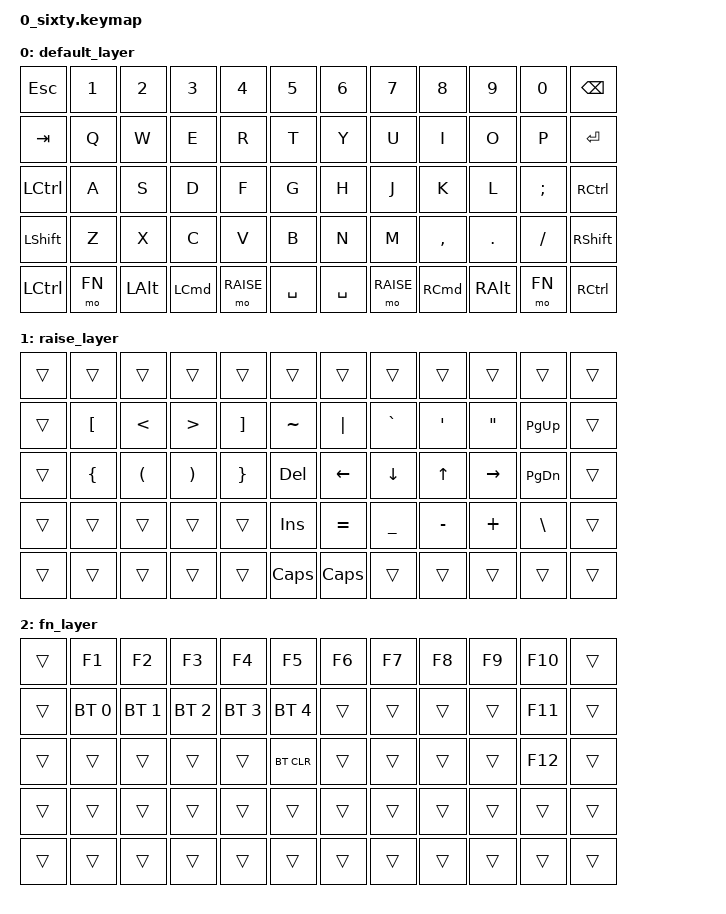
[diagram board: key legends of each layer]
/*
 * Copyright (c) 2020 The ZMK Contributors
 *
 * SPDX-License-Identifier: MIT
 */

#include <behaviors.dtsi>
#include <dt-bindings/zmk/keys.h>
#include <dt-bindings/zmk/bt.h>

#define DEFAULT 0
#define RAISE 1
#define FN 2

/ {
	keymap0: keymap {
		compatible = "zmk,keymap";

		default_layer {
			bindings = <
&kp ESC &kp N1 &kp N2 &kp N3 &kp N4 &kp N5 &kp N6 &kp N7 &kp   N8  &kp  N9 &kp  N0  &kp BSPC
&kp TAB  &kp Q  &kp W  &kp E  &kp R  &kp T  &kp Y  &kp U  &kp   I   &kp  O  &kp   P  &kp RET
&kp LCTL  &kp A  &kp S  &kp D  &kp F  &kp G  &kp H  &kp J  &kp   K   &kp  L  &kp SEMI &kp RCTL
&kp LSHFT  &kp Z  &kp X  &kp C  &kp V  &kp B  &kp N  &kp M  &kp COMMA &kp DOT &kp FSLH &kp RSHFT
&kp LCTL &mo FN &kp LALT &kp LCMD &mo RAISE &kp SPACE &kp SPACE &mo RAISE &kp RCMD &kp RALT &mo FN &kp RCTL
			>;
		};

		raise_layer {
			bindings = <
&trans     &trans     &trans     &trans     &trans       &trans     &trans     &trans     &trans     &trans     &trans     &trans
&trans     &kp LBKT   &kp LT     &kp GT     &kp RBKT     &kp TILDE  &kp PIPE   &kp GRAVE  &kp APOS   &kp DQT    &kp PG_UP  &trans
&trans     &kp LBRC   &kp LPAR   &kp RPAR   &kp RBRC     &kp DEL    &kp LEFT   &kp DOWN   &kp UP     &kp RIGHT  &kp PG_DN  &trans
&trans     &trans     &trans     &trans     &trans       &kp INS    &kp EQUAL  &kp UNDER  &kp MINUS  &kp PLUS   &kp BSLH   &trans
&trans     &trans     &trans     &trans     &trans       &kp CAPS   &kp CAPS   &trans     &trans     &trans     &trans     &trans
			>;
		};

		fn_layer {
			bindings = <
&trans     &kp F1        &kp F2        &kp F3        &kp F4        &kp F5        &kp F6     &kp F7     &kp F8     &kp F9     &kp F10    &trans
&trans     &bt BT_SEL 0  &bt BT_SEL 1  &bt BT_SEL 2  &bt BT_SEL 3  &bt BT_SEL 4  &trans     &trans     &trans     &trans     &kp F11    &trans
&trans     &trans        &trans        &trans        &trans        &bt BT_CLR    &trans     &trans     &trans     &trans     &kp F12    &trans
&trans     &trans        &trans        &trans        &trans        &trans        &trans     &trans     &trans     &trans     &trans     &trans
&trans     &trans        &trans        &trans        &trans        &trans        &trans     &trans     &trans     &trans     &trans     &trans
			>;
		};
	};
};
